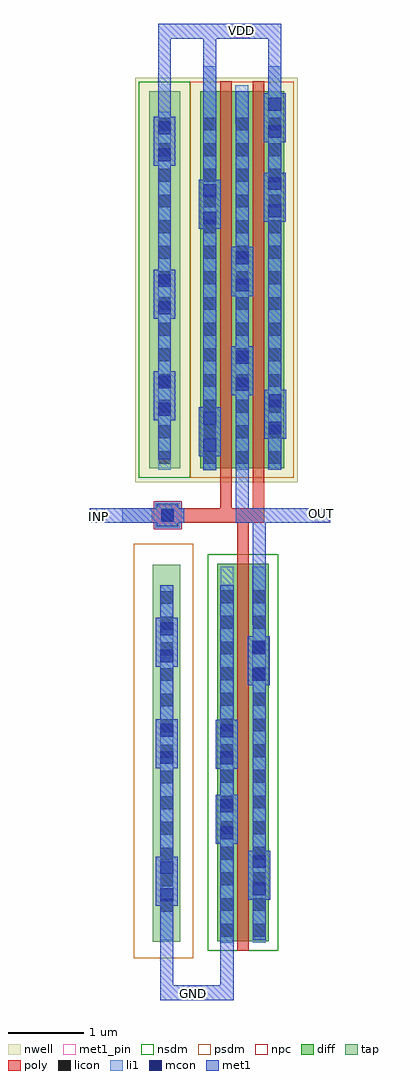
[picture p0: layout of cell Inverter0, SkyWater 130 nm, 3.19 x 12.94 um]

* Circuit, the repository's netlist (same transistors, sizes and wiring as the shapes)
************************************************************************
* auCdl Netlist:
* 
* Library Name:  InverterBasedTransceiver
* Top Cell Name: Inverter0
* View Name:     schematic
* Netlisted on:  Sep  8 12:43:51 2020
************************************************************************

.INCLUDE  $PDK_HOME/LVS/Calibre/source.cdl
*.EQUATION
*.SCALE METER
.PARAM



************************************************************************
* Library Name: InverterBasedTransceiver
* Cell Name:    Inverter0
* View Name:    schematic
************************************************************************

.SUBCKT Inverter0 GND INP OUT VDD
*.PININFO INP:I OUT:O GND:B VDD:B
mMP1 OUT INP VDD VDD pshort m=1 w=5.00 l=0.15 mult=1 sa=0.0 sb=0.0 sd=0.0 
+ topography=normal area=0.063 perim=1.14
mMP0 OUT INP VDD VDD pshort m=1 w=5.00 l=0.15 mult=1 sa=0.0 sb=0.0 sd=0.0 
+ topography=normal area=0.063 perim=1.14
mMN0 OUT INP GND GND nshort m=1 w=5.00 l=0.15 mult=1 sa=0.0 sb=0.0 sd=0.0 
+ topography=normal area=0.063 perim=1.14
.ENDS

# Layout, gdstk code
from math import pi, radians
import gdstk
lib = gdstk.Library(unit=1e-6, precision=1e-09)
def R(c, l, rs):  # rectangles x0, y0, x1, y1
    for r in rs: c.add(gdstk.rectangle(r[:2], r[2:], *l))
def A(c, l, x, y, w, h, nx, ny, dx, dy):  # array of equal rectangles
    R(c, l, [(x+i*dx, y+j*dy, x+i*dx+w, y+j*dy+h) for i in range(nx) for j in range(ny)])
nwell = (64, 20)
diff = (65, 20)
tap = (65, 44)
poly = (66, 20)
licon = (66, 44)
li1 = (67, 20)
mcon = (67, 44)
met1_pin = (68, 16)
met1 = (68, 20)
nsdm = (93, 44)
psdm = (94, 20)
npc = (95, 20)

dfl1sd_cdns_599788377672 = lib.new_cell('DFL1sd_CDNS_599788377672')
R(dfl1sd_cdns_599788377672, diff, [(0,0,0.265,5)])
A(dfl1sd_cdns_599788377672, licon, 0.055, 0.06, 0.17, 0.17, 1, 14, 0, 0.34)
R(dfl1sd_cdns_599788377672, li1, [(0.055,-0.02,0.225,4.73)])
R(dfl1sd_cdns_599788377672, nsdm, [(-0.125,-0.125,0.39,5.125)])

nfet_symbolic_cdns_59978 = lib.new_cell('nfet_symbolic_CDNS_599788377671')
R(nfet_symbolic_cdns_59978, diff, [(-0.25,0,0,5), (0,0,0.15,5), (0.15,0,0.4,5)])
R(nfet_symbolic_cdns_59978, poly, [(0,-0.13,0.15,5.13), (0,-0.13,0.15,0), (0,5,0.15,5.13)])
R(nfet_symbolic_cdns_59978, li1, [(-0.225,-0.02,-0.055,4.73), (0.205,-0.02,0.375,4.73)])
R(nfet_symbolic_cdns_59978, nsdm, [(-0.25,-0.125,0.4,5.125)])
nfet_symbolic_cdns_59978.add(gdstk.Reference(dfl1sd_cdns_599788377672, (0.15,0)))
nfet_symbolic_cdns_59978.add(gdstk.Reference(dfl1sd_cdns_599788377672, (0,0), rotation=pi, x_reflection=True))
nfet_symbolic_cdns_59978.add(gdstk.Label('D', (0.29,2.355), layer=83, texttype=44))
nfet_symbolic_cdns_59978.add(gdstk.Label('S', (-0.14,2.355), layer=83, texttype=44))

nfet_cdns_599788377670 = lib.new_cell('nfet_CDNS_599788377670')
nfet_cdns_599788377670.add(gdstk.Reference(nfet_symbolic_cdns_59978, (0,0)))

dfl1sd_cdns_599788377675 = lib.new_cell('DFL1sd_CDNS_599788377675')
R(dfl1sd_cdns_599788377675, nwell, [(-0.18,-0.18,0.445,5.18)])
R(dfl1sd_cdns_599788377675, diff, [(0,0,0.265,5)])
A(dfl1sd_cdns_599788377675, licon, 0.055, 0.06, 0.17, 0.17, 1, 14, 0, 0.34)
R(dfl1sd_cdns_599788377675, li1, [(0.055,-0.02,0.225,4.73)])
R(dfl1sd_cdns_599788377675, psdm, [(-0.125,-0.125,0.39,5.125)])

dfl1sd2_cdns_59978837767 = lib.new_cell('DFL1sd2_CDNS_599788377676')
R(dfl1sd2_cdns_59978837767, nwell, [(-0.18,-0.18,0.46,5.18)])
R(dfl1sd2_cdns_59978837767, diff, [(0,0,0.28,5)])
A(dfl1sd2_cdns_59978837767, licon, 0.055, 0.06, 0.17, 0.17, 1, 14, 0, 0.34)
R(dfl1sd2_cdns_59978837767, li1, [(0.055,-0.02,0.225,4.73)])
R(dfl1sd2_cdns_59978837767, psdm, [(-0.125,-0.125,0.405,5.125)])

pfet_symbolic_cdns_59978 = lib.new_cell('pfet_symbolic_CDNS_599788377674')
R(pfet_symbolic_cdns_59978, nwell, [(-0.445,-0.18,1.025,5.18)])
R(pfet_symbolic_cdns_59978, diff, [(-0.25,0,0,5), (0,0,0.15,5), (0.43,0,0.58,5), (0.58,0,0.83,5)])
R(pfet_symbolic_cdns_59978, poly, [(0,-0.13,0.15,5.13), (0,-0.13,0.15,0), (0.43,-0.13,0.58,5.13), (0.43,-0.13,0.58,0), (0,5,0.15,5.13), (0.43,5,0.58,5.13)])
A(pfet_symbolic_cdns_59978, li1, -0.225, -0.02, 0.17, 4.75, 3, 1, 0.43, 0)
R(pfet_symbolic_cdns_59978, psdm, [(-0.25,-0.125,0.15,5.125), (0.18,-0.125,0.83,5.125)])
pfet_symbolic_cdns_59978.add(gdstk.Reference(dfl1sd_cdns_599788377675, (0.58,0)))
pfet_symbolic_cdns_59978.add(gdstk.Reference(dfl1sd_cdns_599788377675, (0,0), rotation=pi, x_reflection=True))
pfet_symbolic_cdns_59978.add(gdstk.Reference(dfl1sd2_cdns_59978837767, (0.15,0)))
pfet_symbolic_cdns_59978.add(gdstk.Label('S', (0.72,2.355), layer=83, texttype=44))
pfet_symbolic_cdns_59978.add(gdstk.Label('D', (0.29,2.355), layer=83, texttype=44))
pfet_symbolic_cdns_59978.add(gdstk.Label('S', (-0.14,2.355), layer=83, texttype=44))

pfet_cdns_599788377673 = lib.new_cell('pfet_CDNS_599788377673')
R(pfet_cdns_599788377673, nwell, [(-1.125,-0.18,-0.445,5.18)])
R(pfet_cdns_599788377673, tap, [(-0.945,0,-0.535,5)])
A(pfet_cdns_599788377673, licon, -0.825, 0.06, 0.17, 0.17, 1, 14, 0, 0.34)
R(pfet_cdns_599788377673, li1, [(-0.825,-0.02,-0.655,4.73)])
R(pfet_cdns_599788377673, nsdm, [(-1.08,-0.125,-0.4,5.125)])
R(pfet_cdns_599788377673, psdm, [(-0.4,-0.125,-0.39,5.125)])
pfet_cdns_599788377673.add(gdstk.Reference(pfet_symbolic_cdns_59978, (0,0)))

l1m1_c_cdns_599788377670 = lib.new_cell('L1M1_C_CDNS_599788377670')
R(l1m1_c_cdns_599788377670, li1, [(-0.085,-0.085,0.085,0.085)])
R(l1m1_c_cdns_599788377670, mcon, [(-0.085,-0.085,0.085,0.085)])
R(l1m1_c_cdns_599788377670, met1, [(-0.145,-0.145,0.145,0.145)])

l1m1_c_cdns_599788377671 = lib.new_cell('L1M1_C_CDNS_599788377671')
R(l1m1_c_cdns_599788377671, li1, [(-0.085,-0.265,0.085,0.265)])
R(l1m1_c_cdns_599788377671, mcon, [(-0.085,-0.265,0.085,-0.095), (-0.085,0.095,0.085,0.265)])
R(l1m1_c_cdns_599788377671, met1, [(-0.145,-0.325,0.145,0.325)])

pyl1_c_cdns_599788377672 = lib.new_cell('PYL1_C_CDNS_599788377672')
R(pyl1_c_cdns_599788377672, poly, [(-0.165,-0.165,0.165,0.165)])
R(pyl1_c_cdns_599788377672, licon, [(-0.085,-0.085,0.085,0.085)])
R(pyl1_c_cdns_599788377672, li1, [(-0.165,-0.165,0.165,0.165)])
R(pyl1_c_cdns_599788377672, npc, [(-0.185,-0.185,0.185,0.185)])

inverter0 = lib.new_cell('Inverter0')
R(inverter0, tap, [(2.02,1.48,2.385,6.48)])
R(inverter0, poly, [(3.14,6.62,3.29,7.23), (2.005,7.035,3.495,7.23), (2.915,7.035,3.065,7.625), (3.345,7.035,3.495,7.625), (3.345,7.23,3.495,7.625)])
A(inverter0, licon, 2.12, 1.88, 0.17, 0.17, 1, 13, 0, 0.34)
R(inverter0, li1, [(2.12,1.505,2.29,6.21), (2.92,5.685,3.09,6.45), (3.34,5.685,3.51,6.45), (3.345,6.22,3.515,6.45), (1.615,7.035,2.435,7.23), (2.69,12.32,2.86,13.085), (3.115,12.32,3.285,12.83), (3.55,12.32,3.72,13.085)])
R(inverter0, met1_pin, [(2.485,0.725,2.65,0.885), (4.165,7.04,4.35,7.225), (1.19,7.05,1.385,7.225), (3.08,13.465,3.305,13.64)])
R(inverter0, met1, [(2.12,0.71,2.29,6.21), (2.12,0.71,3.09,0.905), (2.915,0.71,3.09,6.21), (3.345,1.51,3.515,7.23), (1.185,7.035,2.435,7.23), (3.12,7.035,4.37,7.23), (3.12,7.035,3.29,12.755), (2.69,7.73,2.86,13.645), (3.55,7.735,3.72,13.645), (2.09,7.875,2.26,13.645), (2.09,13.45,3.72,13.645)])
R(inverter0, psdm, [(1.765,1.265,2.555,6.76)])
inverter0.add(gdstk.Reference(nfet_cdns_599788377670, (3.14,1.49)))
inverter0.add(gdstk.Reference(pfet_cdns_599788377673, (2.915,7.755)))
inverter0.add(gdstk.Reference(l1m1_c_cdns_599788377670, (2.215,7.135)))
inverter0.add(gdstk.Reference(l1m1_c_cdns_599788377671, (2.175,12.09)))
inverter0.add(gdstk.Reference(l1m1_c_cdns_599788377671, (2.175,10.065)))
inverter0.add(gdstk.Reference(l1m1_c_cdns_599788377671, (2.175,8.72)))
inverter0.add(gdstk.Reference(l1m1_c_cdns_599788377671, (2.205,2.285)))
inverter0.add(gdstk.Reference(l1m1_c_cdns_599788377671, (2.205,4.105)))
inverter0.add(gdstk.Reference(l1m1_c_cdns_599788377671, (2.205,5.45)))
inverter0.add(gdstk.Reference(l1m1_c_cdns_599788377671, (2.775,8.24)))
inverter0.add(gdstk.Reference(l1m1_c_cdns_599788377671, (2.775,11.255)))
inverter0.add(gdstk.Reference(l1m1_c_cdns_599788377671, (3,3.105)))
inverter0.add(gdstk.Reference(l1m1_c_cdns_599788377671, (3,4.1)))
inverter0.add(gdstk.Reference(l1m1_c_cdns_599788377671, (3.205,9.05)))
inverter0.add(gdstk.Reference(l1m1_c_cdns_599788377671, (3.205,10.365)))
inverter0.add(gdstk.Reference(l1m1_c_cdns_599788377671, (3.425,5.205)))
inverter0.add(gdstk.Reference(l1m1_c_cdns_599788377671, (3.43,2.365)))
inverter0.add(gdstk.Reference(l1m1_c_cdns_599788377671, (3.635,11.35)))
inverter0.add(gdstk.Reference(l1m1_c_cdns_599788377671, (3.635,12.4)))
inverter0.add(gdstk.Reference(l1m1_c_cdns_599788377671, (3.64,8.47)))
inverter0.add(gdstk.Reference(pyl1_c_cdns_599788377672, (2.215,7.135)))
inverter0.add(gdstk.Label('VDD', (3.195,13.56), layer=68, texttype=20))
inverter0.add(gdstk.Label('INP', (1.3,7.12), layer=68, texttype=20))
inverter0.add(gdstk.Label('OUT', (4.25,7.16), layer=68, texttype=20))
inverter0.add(gdstk.Label('GND', (2.56,0.79), layer=68, texttype=20))

lib.write_gds('Inverter0.gds')
